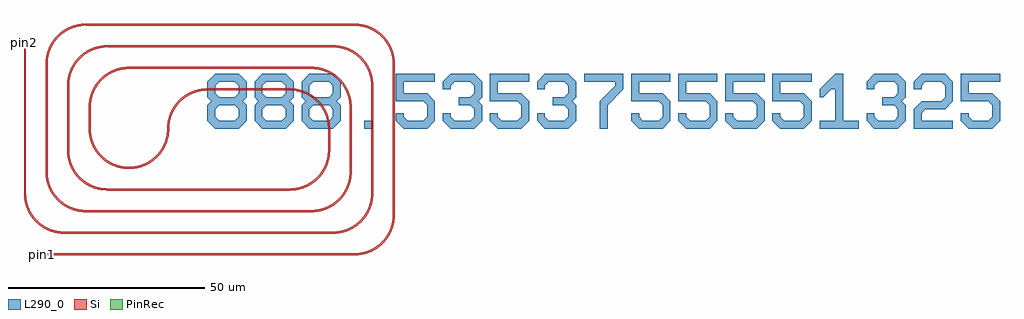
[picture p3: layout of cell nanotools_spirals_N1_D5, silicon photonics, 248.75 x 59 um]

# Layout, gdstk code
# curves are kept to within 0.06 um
import gdstk
lib = gdstk.Library(unit=1e-6, precision=1e-09)
def R(c, l, rs):  # rectangles x0, y0, x1, y1
    for r in rs: c.add(gdstk.rectangle(r[:2], r[2:], *l))
def P(c, l, *ps):  # polygons
    for p in ps: c.add(gdstk.Polygon(p, *l))
Si = (1, 0)
PinRec = (1, 10)
L290_0 = (290, 0)

nanotools_spirals_n1_d5 = lib.new_cell('nanotools_spirals_N1_D5')
R(nanotools_spirals_n1_d5, Si, [(-42,-32.25,37.5,-31.75), (-36.5,-26.75,32,-26.25), (47.25,-22,47.75,16.5), (-31,-21.25,26.5,-20.75), (-46.75,-16.5,-46.25,22), (41.75,-16.5,42.25,11), (-25.5,-15.75,21,-15.25), (-41.25,-11,-40.75,16.5), (36.25,-11,36.75,5.5), (-35.75,-5.5,-35.25,11), (30.75,-5.5,31.25,0), (-30.25,0,-29.75,5.5), (0,9.75,21,10.25), (-20,15.25,26.5,15.75), (-25.5,20.75,32,21.25), (-31,26.25,37.5,26.75)])
P(nanotools_spirals_n1_d5, Si, [(-10.25,0),(-10.056,1.984),(-9.482,3.894),(-8.548,5.656),(-7.292,7.204),(-6.557,7.879),(-5.759,8.479),(-4.009,9.434),(-3.072,9.779),(-2.107,10.031),(-1.121,10.189),(0,10.25),(0,9.75),(-1.066,9.692),(-2.12,9.517),(-3.148,9.228),(-4.246,8.777),(-5.673,7.93),(-6.852,6.936),(-7.93,5.673),(-8.777,4.246),(-9.228,3.148),(-9.517,2.12),(-9.692,1.066),(-9.75,0)],
  [(-20,-10.25),(-20,-9.75),(-18.934,-9.692),(-17.88,-9.517),(-16.852,-9.228),(-15.754,-8.777),(-14.327,-7.93),(-13.148,-6.936),(-12.07,-5.673),(-11.223,-4.246),(-10.772,-3.148),(-10.483,-2.12),(-10.308,-1.066),(-10.25,0),(-9.75,0),(-9.944,-1.984),(-10.518,-3.894),(-11.452,-5.656),(-12.708,-7.204),(-13.443,-7.879),(-14.241,-8.479),(-15.991,-9.434),(-16.928,-9.779),(-17.893,-10.031),(-18.879,-10.189)],
  [(21,-15.75),(21,-15.25),(22.066,-15.192),(23.12,-15.017),(24.148,-14.728),(25.246,-14.277),(26.673,-13.43),(27.852,-12.436),(28.93,-11.173),(29.777,-9.746),(30.228,-8.648),(30.517,-7.62),(30.692,-6.566),(30.75,-5.5),(31.25,-5.5),(31.056,-7.484),(30.482,-9.394),(29.548,-11.156),(28.292,-12.704),(27.557,-13.379),(26.759,-13.979),(25.009,-14.934),(24.072,-15.279),(23.107,-15.531),(22.121,-15.689)],
  [(26.5,-21.25),(26.5,-20.75),(27.566,-20.692),(28.62,-20.517),(29.648,-20.228),(30.746,-19.777),(32.173,-18.93),(33.352,-17.936),(34.43,-16.673),(35.277,-15.246),(35.728,-14.148),(36.017,-13.12),(36.192,-12.066),(36.25,-11),(36.75,-11),(36.556,-12.984),(35.982,-14.894),(35.048,-16.656),(33.792,-18.204),(33.057,-18.879),(32.259,-19.479),(30.509,-20.434),(29.572,-20.779),(28.607,-21.031),(27.621,-21.189)],
  [(32,-26.75),(32,-26.25),(33.066,-26.192),(34.12,-26.017),(35.148,-25.728),(36.246,-25.277),(37.673,-24.43),(38.852,-23.436),(39.93,-22.173),(40.777,-20.746),(41.228,-19.648),(41.517,-18.62),(41.692,-17.566),(41.75,-16.5),(42.25,-16.5),(42.056,-18.484),(41.482,-20.394),(40.548,-22.156),(39.292,-23.704),(38.557,-24.379),(37.759,-24.979),(36.009,-25.934),(35.072,-26.279),(34.107,-26.531),(33.121,-26.689)],
  [(37.5,-32.25),(37.5,-31.75),(38.566,-31.692),(39.62,-31.517),(40.648,-31.228),(41.746,-30.777),(43.173,-29.93),(44.352,-28.936),(45.43,-27.673),(46.277,-26.246),(46.728,-25.148),(47.017,-24.12),(47.192,-23.066),(47.25,-22),(47.75,-22),(47.556,-23.984),(46.982,-25.894),(46.048,-27.656),(44.792,-29.204),(44.057,-29.879),(43.259,-30.479),(41.509,-31.434),(40.572,-31.779),(39.607,-32.031),(38.621,-32.189)],
  [(30.75,0),(30.566,1.888),(30.064,3.594),(29.26,5.18),(28.101,6.681),(26.865,7.789),(25.352,8.725),(24.26,9.189),(23.236,9.49),(22.066,9.692),(21,9.75),(21,10.25),(22.121,10.189),(23.107,10.031),(24.072,9.779),(25.009,9.434),(26.017,8.939),(26.862,8.408),(27.747,7.717),(28.465,7.024),(29.189,6.165),(29.814,5.233),(30.333,4.237),(30.741,3.191),(31.122,1.616),(31.25,0)],
  [(36.25,5.5),(36.066,7.388),(35.564,9.094),(34.76,10.68),(33.601,12.181),(32.365,13.289),(30.852,14.225),(29.76,14.689),(28.736,14.99),(27.566,15.192),(26.5,15.25),(26.5,15.75),(27.621,15.689),(28.607,15.531),(29.572,15.279),(30.509,14.934),(31.517,14.439),(32.362,13.908),(33.247,13.217),(33.965,12.524),(34.689,11.665),(35.314,10.733),(35.833,9.737),(36.241,8.691),(36.622,7.116),(36.75,5.5)],
  [(41.75,11),(41.566,12.888),(41.064,14.594),(40.26,16.18),(39.101,17.681),(37.865,18.789),(36.352,19.725),(35.26,20.189),(34.236,20.49),(33.066,20.692),(32,20.75),(32,21.25),(33.121,21.189),(34.107,21.031),(35.072,20.779),(36.009,20.434),(37.017,19.939),(37.862,19.408),(38.747,18.717),(39.465,18.024),(40.189,17.165),(40.814,16.233),(41.333,15.237),(41.741,14.191),(42.122,12.616),(42.25,11)],
  [(47.25,16.5),(47.066,18.388),(46.564,20.094),(45.76,21.68),(44.601,23.181),(43.365,24.289),(41.852,25.225),(40.76,25.689),(39.736,25.99),(38.566,26.192),(37.5,26.25),(37.5,26.75),(38.621,26.689),(39.607,26.531),(40.572,26.279),(41.509,25.934),(42.517,25.439),(43.362,24.908),(44.247,24.217),(44.965,23.524),(45.689,22.665),(46.314,21.733),(46.833,20.737),(47.241,19.691),(47.622,18.116),(47.75,16.5)],
  [(-30.25,5.5),(-30.056,7.484),(-29.482,9.394),(-28.548,11.156),(-27.292,12.704),(-26.557,13.379),(-25.759,13.979),(-24.009,14.934),(-23.072,15.279),(-22.107,15.531),(-21.121,15.689),(-20,15.75),(-20,15.25),(-21.066,15.192),(-22.12,15.017),(-23.148,14.728),(-24.246,14.277),(-25.673,13.43),(-26.852,12.436),(-27.93,11.173),(-28.777,9.746),(-29.228,8.648),(-29.517,7.62),(-29.692,6.566),(-29.75,5.5)],
  [(-35.75,11),(-35.556,12.984),(-34.982,14.894),(-34.048,16.656),(-32.792,18.204),(-32.057,18.879),(-31.259,19.479),(-29.509,20.434),(-28.572,20.779),(-27.607,21.031),(-26.621,21.189),(-25.5,21.25),(-25.5,20.75),(-26.566,20.692),(-27.62,20.517),(-28.648,20.228),(-29.746,19.777),(-31.173,18.93),(-32.352,17.936),(-33.43,16.673),(-34.277,15.246),(-34.728,14.148),(-35.017,13.12),(-35.192,12.066),(-35.25,11)],
  [(-41.25,16.5),(-41.056,18.484),(-40.482,20.394),(-39.548,22.156),(-38.292,23.704),(-37.557,24.379),(-36.759,24.979),(-35.009,25.934),(-34.072,26.279),(-33.107,26.531),(-32.121,26.689),(-31,26.75),(-31,26.25),(-32.066,26.192),(-33.12,26.017),(-34.148,25.728),(-35.246,25.277),(-36.673,24.43),(-37.852,23.436),(-38.93,22.173),(-39.777,20.746),(-40.228,19.648),(-40.517,18.62),(-40.692,17.566),(-40.75,16.5)],
  [(-20,-10.25),(-21.984,-10.056),(-23.894,-9.482),(-25.656,-8.548),(-27.204,-7.292),(-27.879,-6.557),(-28.479,-5.759),(-29.434,-4.009),(-29.779,-3.072),(-30.031,-2.107),(-30.189,-1.121),(-30.25,0),(-29.75,0),(-29.692,-1.066),(-29.517,-2.12),(-29.228,-3.148),(-28.777,-4.246),(-27.93,-5.673),(-26.936,-6.852),(-25.673,-7.93),(-24.246,-8.777),(-23.148,-9.228),(-22.12,-9.517),(-21.066,-9.692),(-20,-9.75)],
  [(-25.5,-15.75),(-27.484,-15.556),(-29.394,-14.982),(-31.156,-14.048),(-32.704,-12.792),(-33.379,-12.057),(-33.979,-11.259),(-34.934,-9.509),(-35.279,-8.572),(-35.531,-7.607),(-35.689,-6.621),(-35.75,-5.5),(-35.25,-5.5),(-35.192,-6.566),(-35.017,-7.62),(-34.728,-8.648),(-34.277,-9.746),(-33.43,-11.173),(-32.436,-12.352),(-31.173,-13.43),(-29.746,-14.277),(-28.648,-14.728),(-27.62,-15.017),(-26.566,-15.192),(-25.5,-15.25)],
  [(-31,-21.25),(-32.984,-21.056),(-34.894,-20.482),(-36.656,-19.548),(-38.204,-18.292),(-38.879,-17.557),(-39.479,-16.759),(-40.434,-15.009),(-40.779,-14.072),(-41.031,-13.107),(-41.189,-12.121),(-41.25,-11),(-40.75,-11),(-40.692,-12.066),(-40.517,-13.12),(-40.228,-14.148),(-39.777,-15.246),(-38.93,-16.673),(-37.936,-17.852),(-36.673,-18.93),(-35.246,-19.777),(-34.148,-20.228),(-33.12,-20.517),(-32.066,-20.692),(-31,-20.75)],
  [(-36.5,-26.75),(-38.484,-26.556),(-40.394,-25.982),(-42.156,-25.048),(-43.704,-23.792),(-44.379,-23.057),(-44.979,-22.259),(-45.934,-20.509),(-46.279,-19.572),(-46.531,-18.607),(-46.689,-17.621),(-46.75,-16.5),(-46.25,-16.5),(-46.192,-17.566),(-46.017,-18.62),(-45.728,-19.648),(-45.277,-20.746),(-44.43,-22.173),(-43.436,-23.352),(-42.173,-24.43),(-40.746,-25.277),(-39.648,-25.728),(-38.62,-26.017),(-37.566,-26.192),(-36.5,-26.25)])
R(nanotools_spirals_n1_d5, L290_0, [(40,0,42,2)])
P(nanotools_spirals_n1_d5, L290_0, [(2,0),(0,2),(0,6),(1,7),(0,8),(0,12),(2,14),(8,14),(10,12),(3,12),(2,11),(2,9),(3,8),(7,8),(8,9),(8,11),(7,12),(10,12),(10,8),(9,7),(10,6),(3,6),(2,5),(2,3),(3,2),(7,2),(8,3),(8,5),(7,6),(10,6),(10,2),(8,0)],
  [(14,0),(12,2),(12,6),(13,7),(12,8),(12,12),(14,14),(20,14),(22,12),(15,12),(14,11),(14,9),(15,8),(19,8),(20,9),(20,11),(19,12),(22,12),(22,8),(21,7),(22,6),(15,6),(14,5),(14,3),(15,2),(19,2),(20,3),(20,5),(19,6),(22,6),(22,2),(20,0)],
  [(26,0),(24,2),(24,6),(25,7),(24,8),(24,12),(26,14),(32,14),(34,12),(27,12),(26,11),(26,9),(27,8),(31,8),(32,9),(32,11),(31,12),(34,12),(34,8),(33,7),(34,6),(27,6),(26,5),(26,3),(27,2),(31,2),(32,3),(32,5),(31,6),(34,6),(34,2),(32,0)],
  [(50,0),(48,2),(48,4),(50,4),(50,3),(51,2),(55,2),(56,3),(56,6),(55,7),(48,7),(48,14),(58,14),(58,12),(50,12),(50,9),(56,9),(58,7),(58,2),(56,0)],
  [(62,0),(60,2),(60,4),(62,4),(62,3),(63,2),(67,2),(68,3),(68,5),(67,6),(64,6),(64,8),(67,8),(68,9),(68,11),(67,12),(63,12),(62,11),(62,10),(60,10),(60,12),(62,14),(68,14),(70,12),(70,8),(69,7),(70,6),(70,2),(68,0)],
  [(74,0),(72,2),(72,4),(74,4),(74,3),(75,2),(79,2),(80,3),(80,6),(79,7),(72,7),(72,14),(82,14),(82,12),(74,12),(74,9),(80,9),(82,7),(82,2),(80,0)],
  [(86,0),(84,2),(84,4),(86,4),(86,3),(87,2),(91,2),(92,3),(92,5),(91,6),(88,6),(88,8),(91,8),(92,9),(92,11),(91,12),(87,12),(86,11),(86,10),(84,10),(84,12),(86,14),(92,14),(94,12),(94,8),(93,7),(94,6),(94,2),(92,0)],
  [(100,0),(100,7),(104,11),(104,12),(96,12),(96,14),(106,14),(106,10),(102,6),(102,0)],
  [(110,0),(108,2),(108,4),(110,4),(110,3),(111,2),(115,2),(116,3),(116,6),(115,7),(108,7),(108,14),(118,14),(118,12),(110,12),(110,9),(116,9),(118,7),(118,2),(116,0)],
  [(122,0),(120,2),(120,4),(122,4),(122,3),(123,2),(127,2),(128,3),(128,6),(127,7),(120,7),(120,14),(130,14),(130,12),(122,12),(122,9),(128,9),(130,7),(130,2),(128,0)],
  [(134,0),(132,2),(132,4),(134,4),(134,3),(135,2),(139,2),(140,3),(140,6),(139,7),(132,7),(132,14),(142,14),(142,12),(134,12),(134,9),(140,9),(142,7),(142,2),(140,0)],
  [(146,0),(144,2),(144,4),(146,4),(146,3),(147,2),(151,2),(152,3),(152,6),(151,7),(144,7),(144,14),(154,14),(154,12),(146,12),(146,9),(152,9),(154,7),(154,2),(152,0)],
  [(156,0),(156,2),(160,2),(160,10),(159,10),(157,8),(156,8),(156,10),(160,14),(162,14),(162,2),(166,2),(166,0)],
  [(170,0),(168,2),(168,4),(170,4),(170,3),(171,2),(175,2),(176,3),(176,5),(175,6),(172,6),(172,8),(175,8),(176,9),(176,11),(175,12),(171,12),(170,11),(170,10),(168,10),(168,12),(170,14),(176,14),(178,12),(178,8),(177,7),(178,6),(178,2),(176,0)],
  [(180,0),(180,5),(182,7),(187,7),(188,8),(188,11),(187,12),(183,12),(182,11),(182,10),(180,10),(180,12),(182,14),(188,14),(190,12),(190,7),(188,5),(183,5),(182,4),(182,2),(190,2),(190,0)],
  [(194,0),(192,2),(192,4),(194,4),(194,3),(195,2),(199,2),(200,3),(200,6),(199,7),(192,7),(192,14),(202,14),(202,12),(194,12),(194,9),(200,9),(202,7),(202,2),(200,0)])
nanotools_spirals_n1_d5.add(gdstk.FlexPath([(-41.95,-32),(-42.05,-32)], 0.5, ends="flush", simple_path=True, layer=1, datatype=10))  # PinRec
nanotools_spirals_n1_d5.add(gdstk.FlexPath([(-46.5,21.95),(-46.5,22.05)], 0.5, ends="flush", simple_path=True, layer=1, datatype=10))  # PinRec
nanotools_spirals_n1_d5.add(gdstk.Label('pin1', (-42,-32), layer=1, texttype=10))
nanotools_spirals_n1_d5.add(gdstk.Label('pin2', (-46.5,22), layer=1, texttype=10))

lib.write_gds('nanotools_spirals_N1_D5.gds')
